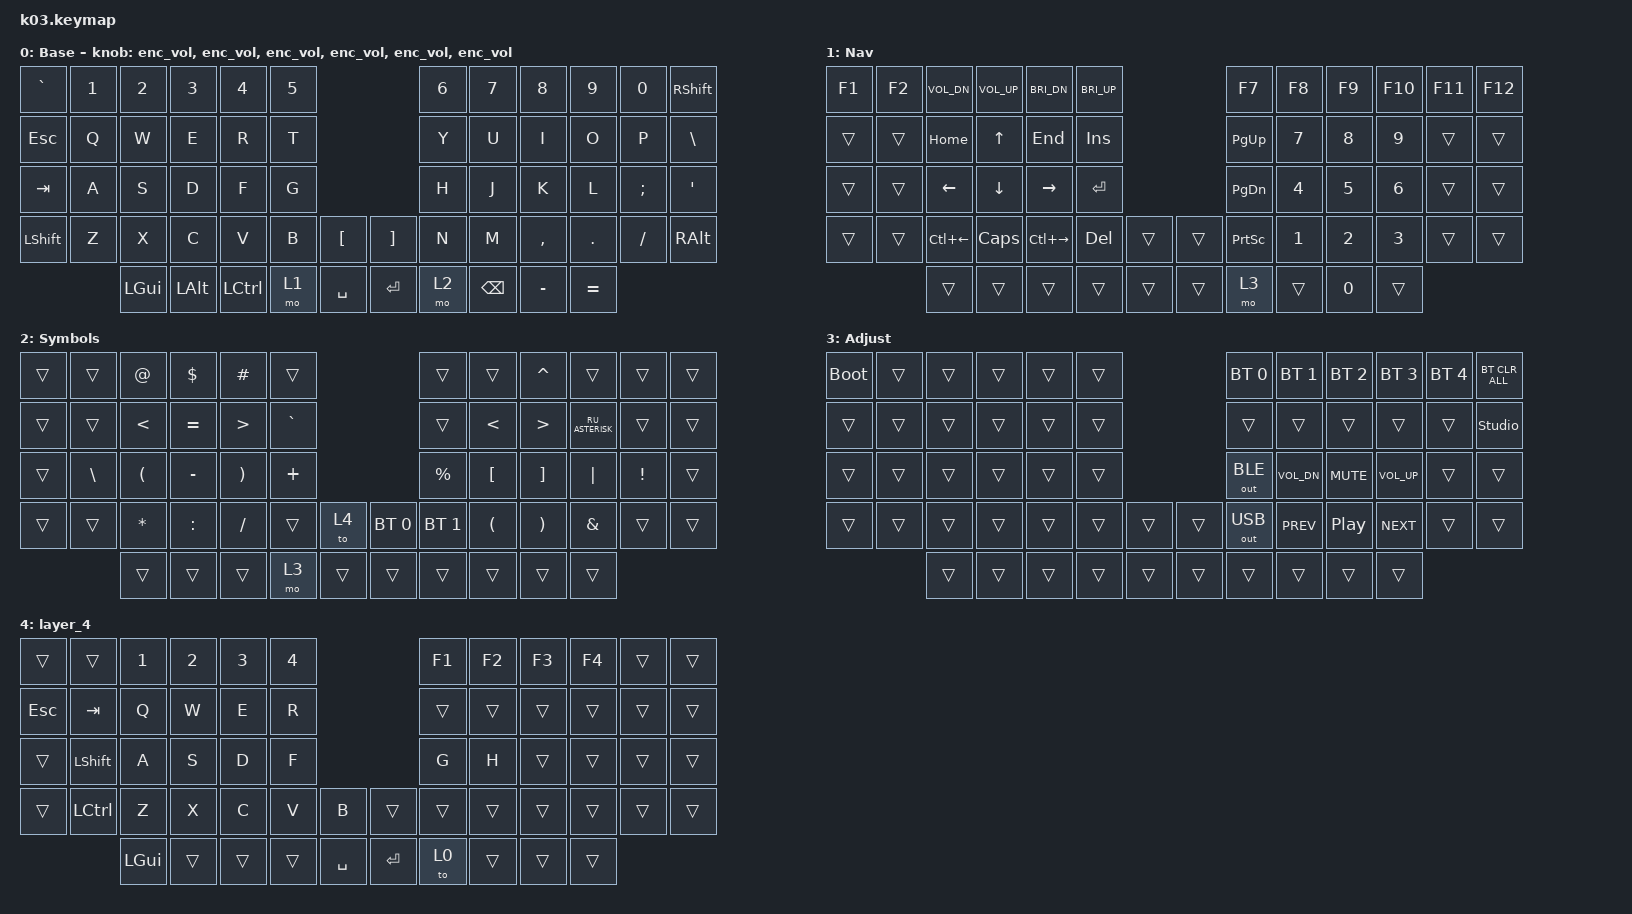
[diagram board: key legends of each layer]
#include "keys_ru.h"
#include <behaviors.dtsi>
#include <dt-bindings/zmk/bt.h>
#include <dt-bindings/zmk/keys.h>
#include <dt-bindings/zmk/outputs.h>

/ {
    behaviors {
        enc_vol: enc_vol {
            compatible = "zmk,behavior-sensor-rotate";
            label = "ENC_VOL";
            #sensor-binding-cells = <0>;
            bindings = <&kp C_VOL_UP>, <&kp C_VOL_DN>;
        };
    };

    keymap {
        compatible = "zmk,keymap";

        base {
            bindings = <
&kp GRAVE  &kp N1  &kp N2    &kp N3    &kp N4     &kp N5                          &kp N6  &kp N7         &kp N8     &kp N9     &kp N0    &kp RIGHT_SHIFT
&kp ESC    &kp Q   &kp W     &kp E     &kp R      &kp T                           &kp Y   &kp U          &kp I      &kp O      &kp P     &kp BSLH
&kp TAB    &kp A   &kp S     &kp D     &kp F      &kp G                           &kp H   &kp J          &kp K      &kp L      &kp SEMI  &kp SQT
&kp LSHFT  &kp Z   &kp X     &kp C     &kp V      &kp B   &kp LBKT     &kp RBKT   &kp N   &kp M          &kp COMMA  &kp DOT    &kp FSLH  &kp RIGHT_ALT
                   &kp LGUI  &kp LALT  &kp LCTRL  &mo 1   &kp SPACE    &kp ENTER  &mo 2   &kp BACKSPACE  &kp MINUS  &kp EQUAL
            >;

            display-name = "Base";
            sensor-bindings =
                <&enc_vol>,
                <&enc_vol>,
                <&enc_vol>,
                <&enc_vol>,
                <&enc_vol>,
                <&enc_vol>;
        };

        nav {
            bindings = <
&kp F1  &kp F2  &kp C_VOL_DN  &kp C_VOL_UP  &kp C_BRI_DN   &kp C_BRI_UP                    &kp F7           &kp F8  &kp F9  &kp F10  &kp F11  &kp F12
&trans  &trans  &kp HOME      &kp UP        &kp END        &kp INS                         &kp PG_UP        &kp N7  &kp N8  &kp N9   &trans   &trans
&trans  &trans  &kp LEFT      &kp DOWN      &kp RIGHT      &kp RET                         &kp PG_DN        &kp N4  &kp N5  &kp N6   &trans   &trans
&trans  &trans  &kp LC(LEFT)  &kp CAPS      &kp LC(RIGHT)  &kp DEL       &trans    &trans  &kp PRINTSCREEN  &kp N1  &kp N2  &kp N3   &trans   &trans
                &trans        &trans        &trans         &trans        &trans    &trans  &mo 3            &trans  &kp N0  &trans
            >;

            display-name = "Nav";
        };

        sym {
            bindings = <
&trans  &trans    &kp AT    &kp DLLR   &kp HASH  &trans                             &trans        &trans            &kp CARET          &trans           &trans    &trans
&trans  &trans    &kp LT    &kp EQUAL  &kp GT    &kp GRAVE                          &trans        &kp LESS_THAN     &kp GREATER_THAN   &kp RU_ASTERISK  &trans    &trans
&trans  &kp BSLH  &kp LPAR  &kp MINUS  &kp RPAR  &kp PLUS                           &kp PRCNT     &kp LEFT_BRACKET  &kp RIGHT_BRACKET  &kp PIPE         &kp EXCL  &trans
&trans  &trans    &kp STAR  &kp COLON  &kp FSLH  &trans     &to 4     &bt BT_SEL 0  &bt BT_SEL 1  &kp LPAR          &kp RPAR           &kp AMPS         &trans    &trans
                  &trans    &trans     &trans    &mo 3      &trans    &trans        &trans        &trans            &trans             &trans
            >;

            display-name = "Symbols";
        };

        adj {
            bindings = <
&bootloader  &trans  &trans  &trans  &trans  &trans                    &bt BT_SEL 0  &bt BT_SEL 1  &bt BT_SEL 2      &bt BT_SEL 3  &bt BT_SEL 4  &bt BT_CLR_ALL
&trans       &trans  &trans  &trans  &trans  &trans                    &trans        &trans        &trans            &trans        &trans        &studio_unlock
&trans       &trans  &trans  &trans  &trans  &trans                    &out OUT_BLE  &kp C_VOL_DN  &kp C_MUTE        &kp C_VOL_UP  &trans        &trans
&trans       &trans  &trans  &trans  &trans  &trans  &trans    &trans  &out OUT_USB  &kp C_PREV    &kp C_PLAY_PAUSE  &kp C_NEXT    &trans        &trans
                     &trans  &trans  &trans  &trans  &trans    &trans  &trans        &trans        &trans            &trans
            >;

            display-name = "Adjust";
        };

        layer_4 {
            bindings = <
&trans   &trans            &kp N1        &kp NUMBER_2  &kp NUMBER_3  &kp NUMBER_4                          &kp F1  &kp F2  &kp F3  &kp F4  &trans  &trans
&kp ESC  &kp TAB           &kp Q         &kp W         &kp E         &kp R                                 &trans  &trans  &trans  &trans  &trans  &trans
&trans   &kp LEFT_SHIFT    &kp A         &kp S         &kp D         &kp F                                 &kp G   &kp H   &trans  &trans  &trans  &trans
&trans   &kp LEFT_CONTROL  &kp Z         &kp X         &kp C         &kp V         &kp B        &trans     &trans  &trans  &trans  &trans  &trans  &trans
                           &kp LEFT_GUI  &trans        &trans        &trans        &kp SPACE    &kp ENTER  &to 0   &trans  &trans  &trans
            >;
        };
    };
};
